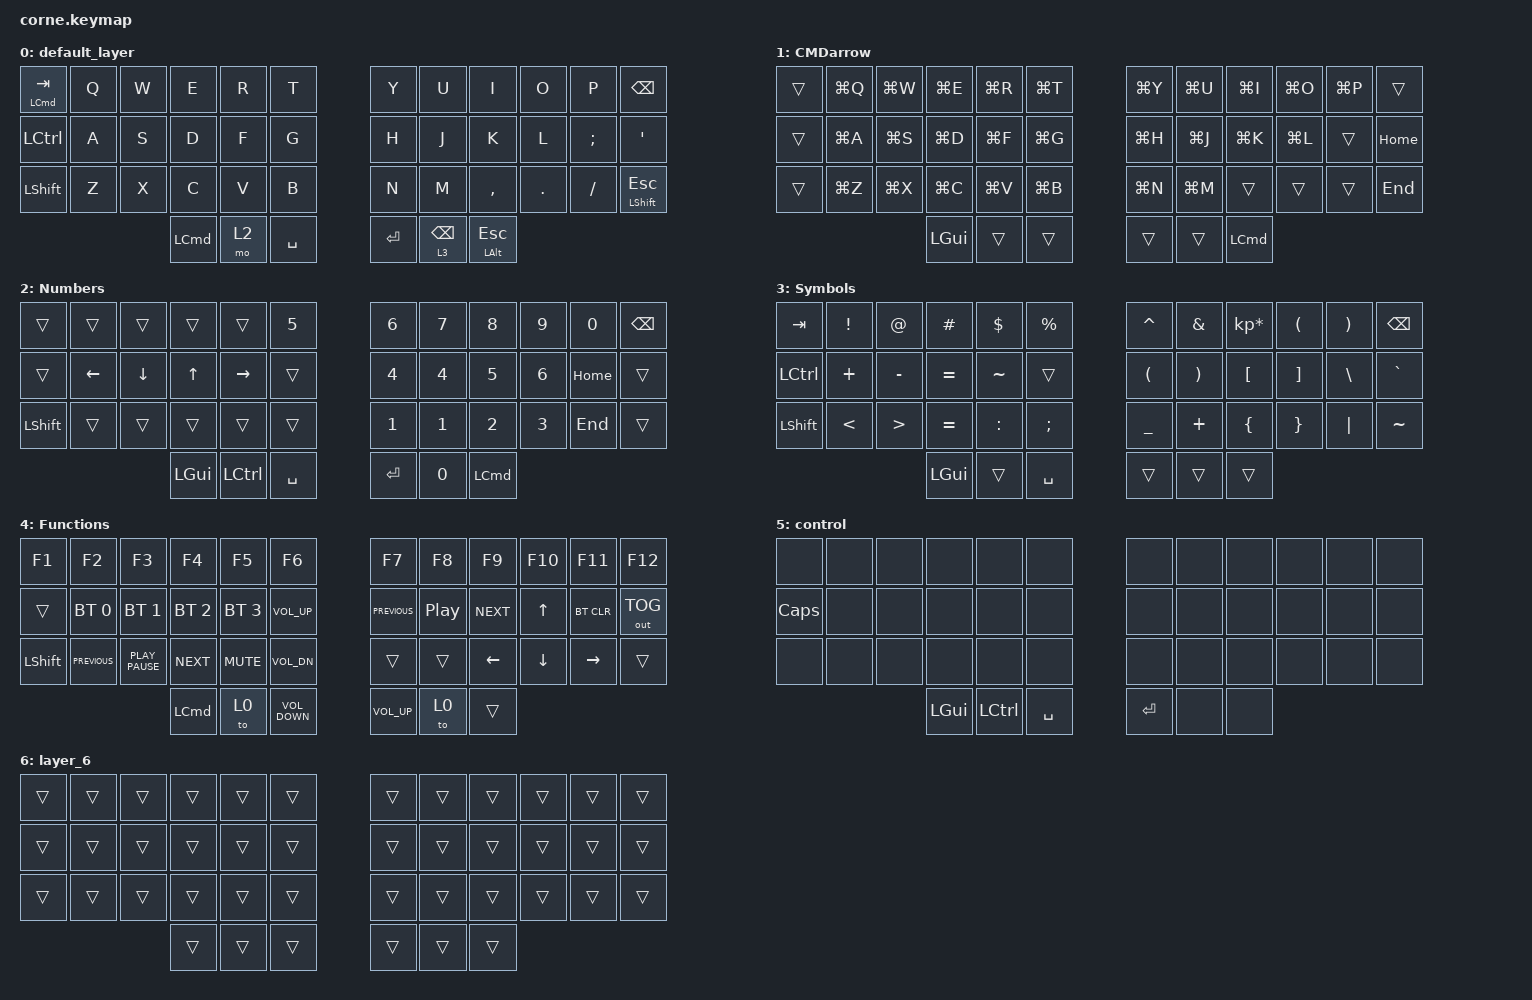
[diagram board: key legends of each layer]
/*
 * Copyright (c) 2020 The ZMK Contributors
 *
 * SPDX-License-Identifier: MIT
 */

#include <behaviors.dtsi>
#include <dt-bindings/zmk/bt.h>
#include <dt-bindings/zmk/keys.h>
#include <dt-bindings/zmk/outputs.h>

/ {
    combos {
        compatible = "zmk,combos";

        Layer3ii {
            bindings = <&lt 4 ESCAPE>;
            key-positions = <41 40>;
            layers = <0>;
        };

        combo_control {
            bindings = <&mo 4>;
            key-positions = <41 35>;
            timeout-ms = <50>;
        };

        combo_space {
            bindings = <&kp LG(SPACE)>;
            key-positions = <38 39>;
            timeout-ms = <40>;
        };

        combo_left_esc {
            bindings = <&kp ESC>;
            key-positions = <24 36>;
            timeout-ms = <50>;
        };

        combo_vim {
            bindings = <&kp COLON>;
            key-positions = <37 40>;
            timeout-ms = <50>;
        };
    };

    keymap {
        compatible = "zmk,keymap";

        default_layer {
            // -----------------------------------------------------------------------------------------
            // |  TAB |  Q  |  W  |  E  |  R  |  T  |   |  Y  |  U   |  I  |  O  |  P  | BKSP |
            // | CTRL |  A  |  S  |  D  |  F  |  G  |   |  H  |  J   |  K  |  L  |  ;  |  '   |
            // | SHFT |  Z  |  X  |  C  |  V  |  B  |   |  N  |  M   |  ,  |  .  |  /  | ESC  |
            //                    | GUI | LWR | SPC |   | ENT | RSE  | ALT |

            bindings = <
&mt LCMD TAB  &kp Q  &kp W  &kp E     &kp R  &kp T        &kp Y      &kp U            &kp I                &kp O    &kp P     &kp BSPC
&kp LCTRL     &kp A  &kp S  &kp D     &kp F  &kp G        &kp H      &kp J            &kp K                &kp L    &kp SEMI  &kp SQT
&kp LSHFT     &kp Z  &kp X  &kp C     &kp V  &kp B        &kp N      &kp M            &kp COMMA            &kp DOT  &kp FSLH  &mt LEFT_SHIFT ESCAPE
                            &kp LCMD  &mo 2  &kp SPACE    &kp ENTER  &lt 3 BACKSPACE  &mt LEFT_ALT ESCAPE
            >;
        };

        CMDarrow {
            bindings = <
&trans  &kp LG(Q)  &kp LG(W)  &kp LG(E)  &kp LG(R)  &kp LG(T)    &kp LG(Y)  &kp LG(U)  &kp LG(I)         &kp LG(O)  &kp LG(P)  &trans
&trans  &kp LG(A)  &kp LG(S)  &kp LG(D)  &kp LG(F)  &kp LG(G)    &kp LG(H)  &kp LG(J)  &kp LG(K)         &kp LG(L)  &trans     &kp HOME
&trans  &kp LG(Z)  &kp LG(X)  &kp LG(C)  &kp LG(V)  &kp LG(B)    &kp LG(N)  &kp LG(M)  &trans            &trans     &trans     &kp END
                              &kp LGUI   &trans     &trans       &trans     &trans     &kp LEFT_COMMAND
            >;
        };

        Numbers {
            // -----------------------------------------------------------------------------------------
            // |  TAB |  1  |  2  |  3  |  4  |  5  |   |  6  |  7  |  8  |  9  |  0  | BKSP |
            // | BTCLR| BT1 | BT2 | BT3 | BT4 | BT5 |   | LFT | DWN |  UP | RGT |     |      |
            // | SHFT |     |     |     |     |     |   |     |     |     |     |     |      |
            //                    | GUI |     | SPC |   | ENT |     | ALT |

            bindings = <
&trans     &trans    &trans    &trans        &trans            &kp N5       &kp N6        &kp N7  &kp N8    &kp N9  &kp N0    &kp BSPC
&trans     &kp LEFT  &kp DOWN  &kp UP_ARROW  &kp RIGHT         &trans       &kp NUMBER_4  &kp N4  &kp N5    &kp N6  &kp HOME  &trans
&kp LSHFT  &trans    &trans    &trans        &trans            &trans       &kp NUMBER_1  &kp N1  &kp N2    &kp N3  &kp END   &trans
                               &kp LGUI      &kp LEFT_CONTROL  &kp SPACE    &kp RET       &kp N0  &kp LCMD
            >;
        };

        Symbols {
            // -----------------------------------------------------------------------------------------
            // |  TAB |  !  |  @  |  #  |  $  |  %  |   |  ^  |  &  |  *  |  (  |  )  | BKSP |
            // | CTRL |     |     |     |     |     |   |  -  |  =  |  [  |  ]  |  \  |  `   |
            // | SHFT |     |     |     |     |     |   |  _  |  +  |  {  |  }  | "|" |  ~   |
            //                    | GUI |     | SPC |   | ENT |     | ALT |

            bindings = <
&kp TAB    &kp EXCL       &kp AT            &kp HASH   &kp DLLR   &kp PRCNT        &kp CARET             &kp AMPS               &kp KP_MULTIPLY  &kp LPAR  &kp RPAR  &kp BSPC
&kp LCTRL  &kp PLUS       &kp MINUS         &kp EQUAL  &kp TILDE  &trans           &kp LEFT_PARENTHESIS  &kp RIGHT_PARENTHESIS  &kp LBKT         &kp RBKT  &kp BSLH  &kp GRAVE
&kp LSHFT  &kp LESS_THAN  &kp GREATER_THAN  &kp EQUAL  &kp COLON  &kp SEMICOLON    &kp UNDER             &kp PLUS               &kp LBRC         &kp RBRC  &kp PIPE  &kp TILDE
                                            &kp LGUI   &trans     &kp SPACE        &trans                &trans                 &trans
            >;
        };

        Functions {
            bindings = <
&kp F1      &kp F2          &kp F3            &kp F4            &kp F5        &kp F6               &kp F7           &kp F8            &kp F9          &kp F10       &kp F11          &kp F12
&trans      &bt BT_SEL 0    &bt BT_SEL 1      &bt BT_SEL 2      &bt BT_SEL 3  &kp C_VOLUME_UP      &kp C_PREVIOUS   &kp C_PLAY_PAUSE  &kp C_NEXT      &kp UP_ARROW  &bt BT_CLR       &out OUT_TOG
&kp LSHIFT  &kp K_PREVIOUS  &kp K_PLAY_PAUSE  &kp K_NEXT        &kp K_MUTE    &kp C_VOL_DN         &trans           &trans            &kp LEFT_ARROW  &kp DOWN      &kp RIGHT_ARROW  &trans
                                              &kp LEFT_COMMAND  &to 0         &kp C_VOLUME_DOWN    &kp C_VOLUME_UP  &to 0             &trans
            >;
        };

        control {
            bindings = <
&none     &none  &none  &none     &none      &none        &none    &none  &none  &none  &none  &none
&kp CAPS  &none  &none  &none     &none      &none        &none    &none  &none  &none  &none  &none
&none     &none  &none  &none     &none      &none        &none    &none  &none  &none  &none  &none
                        &kp LGUI  &kp LCTRL  &kp SPACE    &kp RET  &none  &none
            >;
        };

        layer_6 {
            bindings = <
&trans  &trans  &trans  &trans  &trans  &trans    &trans  &trans  &trans  &trans  &trans  &trans
&trans  &trans  &trans  &trans  &trans  &trans    &trans  &trans  &trans  &trans  &trans  &trans
&trans  &trans  &trans  &trans  &trans  &trans    &trans  &trans  &trans  &trans  &trans  &trans
                        &trans  &trans  &trans    &trans  &trans  &trans
            >;
        };
    };
};
